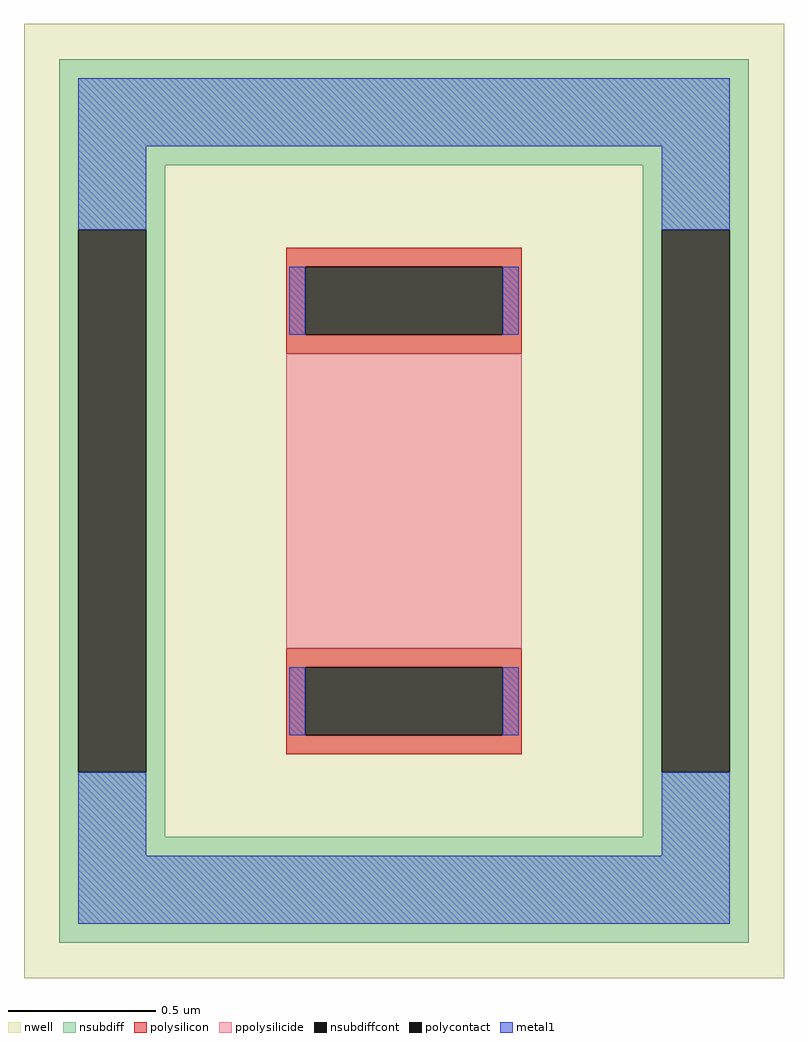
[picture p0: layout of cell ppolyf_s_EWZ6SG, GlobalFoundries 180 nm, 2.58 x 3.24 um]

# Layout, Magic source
magic
tech gf180mcuC
magscale 1 10
<< nwell >>
rect -258 -324 258 324
<< nsubdiff >>
rect -234 228 234 300
rect -234 184 -162 228
rect -234 -184 -221 184
rect -175 -184 -162 184
rect 162 184 234 228
rect -234 -228 -162 -184
rect 162 -184 175 184
rect 221 -184 234 184
rect 162 -228 234 -184
rect -234 -300 234 -228
<< nsubdiffcont >>
rect -221 -184 -175 184
rect 175 -184 221 184
<< polysilicon >>
rect -80 159 80 172
rect -80 113 -67 159
rect 67 113 80 159
rect -80 100 80 113
rect -80 -113 80 -100
rect -80 -159 -67 -113
rect 67 -159 80 -113
rect -80 -172 80 -159
<< polycontact >>
rect -67 113 67 159
rect -67 -159 67 -113
<< ppolysilicide >>
rect -80 -100 80 100
<< metal1 >>
rect -221 241 221 287
rect -221 184 -175 241
rect 175 184 221 241
rect -78 113 -67 159
rect 67 113 78 159
rect -78 -159 -67 -113
rect 67 -159 78 -113
rect -221 -241 -175 -184
rect 175 -241 221 -184
rect -221 -287 221 -241
<< properties >>
string FIXED_BBOX -198 -264 198 264
string gencell ppolyf_s
string library gf180mcu
string parameters w 0.80 l 1.00 m 1 nx 1 wmin 0.80 lmin 1.00 rho 7 val 8.86 dummy 0 dw 0.01 term 0.0 sterm 0.0 caplen 0.4 snake 0 glc 1 grc 1 gtc 0 gbc 0 roverlap 0 endcov 100 full_metal 1
<< end >>
